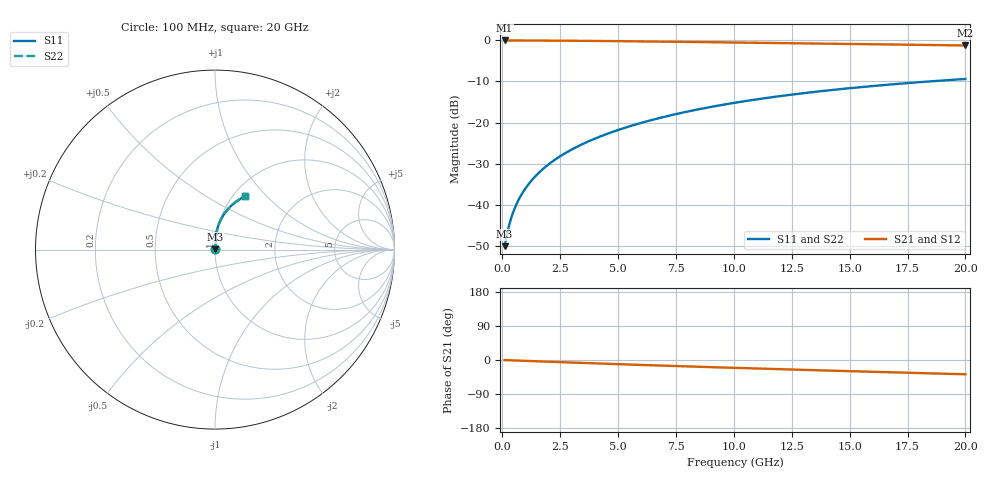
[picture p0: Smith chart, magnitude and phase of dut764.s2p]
! Touchstone file exported from HFSS 2024.1.0
!  File:  C:/UserFiles/LocalFiles/RDL_TSV_Batchsim/temp_RDL_bottom_764_1779860363.aedt
!  Generated:  01:42:08 PM May 27, 2026
!  Design:  RDL_bottom
!  Project:  temp_RDL_bottom_764_1779860363
!  Setup:  Setup1
!  Solution:  Sweep
! Variables:
!  dtsv = 10.80580581um
!  hbump = 3um
!  htsv = 98.4um
!  ldown = 514.49um
!  lrdl = 100um
!  p = 40
!  p1 = 54.23um
!  rhole = 1um
!  t = 450um
!  tdown = 3.04um
!  trdl = 3.915915916um
!  wdown = 25.25um
!  wrdl = 20um
# GHz S MA R 50.000000
! Terminal data exported
! Port[1] = RDL1_T1
! Port[2] = RDL1_T2
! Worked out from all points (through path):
!   200 points, 100 MHz to 20 GHz, reference 50 ohm
!   highest |S21| = -0.02 dB at 100 MHz (marker M1); lowest = -1.2 dB at 20 GHz (marker M2)
!   group delay of S21, straight-line fit = 5.18 ps
!   lowest |S11| = -50.0 dB at 100 MHz (marker M3), VSWR 1.01, Z = 50.3 + j0.173 ohm
!   |S11| at or under -10 dB: start of sweep to 18.41 GHz
!   |S22| runs from -50.0 to -9.4 dB; largest |S21 - S12| = 3.2e-15
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0.1  0.003145 33.1  0.9974 -0.2  0.9974 -0.2  0.003145 33.1
! Gamma 0 0 0 0
! Port Impedance 50 0 50 0
0.2  0.004357 50.8  0.9972 -0.5  0.9972 -0.5  0.004357 50.8
0.3  0.005741 59.7  0.997 -0.7  0.997 -0.7  0.005741 59.7
0.4  0.007156 65.1  0.9968 -0.9  0.9968 -0.9  0.007156 65.1
0.5  0.00858 68.8  0.9967 -1.2  0.9967 -1.2  0.00858 68.8
0.6  0.01001 71.5  0.9965 -1.4  0.9965 -1.4  0.01001 71.5
0.8  0.01291 75.4  0.9961 -1.8  0.9961 -1.8  0.01291 75.4
1.1  0.01733 79.0  0.9956 -2.5  0.9956 -2.5  0.01733 79.0
1.3  0.02033 80.6  0.9951 -3.0  0.9951 -3.0  0.02033 80.6
1.6  0.02489 82.3  0.9944 -3.6  0.9944 -3.6  0.02489 82.3
2.1  0.03265 84.0  0.9928 -4.8  0.9928 -4.8  0.03266 84.0
2.7  0.04221 85.2  0.9905 -6.1  0.9905 -6.1  0.04222 85.2
3.5  0.05538 85.8  0.9868 -7.8  0.9868 -7.8  0.05539 85.9
4.2  0.06729 85.9  0.983 -9.3  0.983 -9.3  0.0673 85.9
5  0.0813 85.6  0.9781 -11.0  0.9781 -11.0  0.08131 85.6
6.8  0.114 83.8  0.9659 -14.6  0.9659 -14.6  0.114 83.8
8.4  0.1438 81.4  0.9543 -17.7  0.9543 -17.7  0.1438 81.4
10.1  0.1754 78.5  0.9416 -20.9  0.9416 -20.9  0.1754 78.5
11.7  0.2046 75.6  0.9296 -23.8  0.9296 -23.8  0.2047 75.6
13.4  0.2348 72.4  0.9167 -26.8  0.9167 -26.8  0.2349 72.5
16.7  0.2898 66.4  0.8917 -32.3  0.8917 -32.3  0.2898 66.5
20  0.3394 60.7  0.8668 -37.7  0.8668 -37.7  0.3394 60.7
